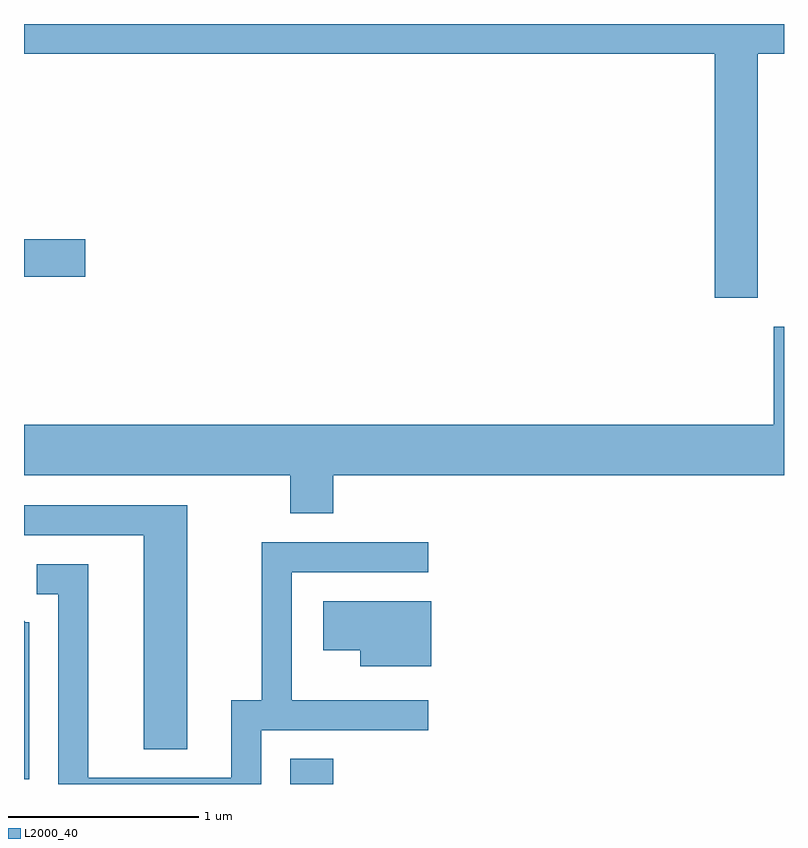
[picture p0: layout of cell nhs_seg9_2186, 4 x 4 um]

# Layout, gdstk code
import gdstk
lib = gdstk.Library(unit=1e-6, precision=1e-09)
def R(c, l, rs):  # rectangles x0, y0, x1, y1
    for r in rs: c.add(gdstk.rectangle(r[:2], r[2:], *l))
def P(c, l, *ps):  # polygons
    for p in ps: c.add(gdstk.Polygon(p, *l))
L2000_40 = (2000, 40)

nhs_seg9_2186 = lib.new_cell('nhs_seg9_2186')
R(nhs_seg9_2186, L2000_40, [(251.011,1972.432,251.239,1972.564), (249.611,1975.101,249.934,1975.299)])
P(nhs_seg9_2186, L2000_40, [(253.474,1976.276),(253.611,1976.276),(253.611,1976.432),(249.611,1976.432),(249.611,1976.276),(253.246,1976.276),(253.246,1974.991),(253.474,1974.991)],
  [(251.239,1974.056),(253.611,1974.056),(253.611,1974.839),(253.556,1974.839),(253.556,1974.324),(249.611,1974.324),(249.611,1974.056),(251.011,1974.056),(251.011,1973.856),(251.239,1973.856)],
  [(250.469,1973.899),(249.611,1973.899),(249.611,1973.741),(250.241,1973.741),(250.241,1972.616),(250.469,1972.616)],
  [(250.859,1972.716),(251.738,1972.716),(251.738,1972.874),(251.019,1972.874),(251.019,1973.546),(251.738,1973.546),(251.738,1973.704),(250.861,1973.704),(250.861,1972.874),(250.701,1972.874),(250.701,1972.464),(249.949,1972.464),(249.949,1973.589),(249.678,1973.589),(249.678,1973.431),(249.791,1973.431),(249.791,1972.432),(250.859,1972.432)],
  [(251.754,1973.394),(251.186,1973.394),(251.186,1973.136),(251.381,1973.136),(251.381,1973.051),(251.754,1973.051)],
  [(249.639,1973.284),(249.617,1973.284),(249.611,1973.29),(249.611,1972.456),(249.639,1972.456)])

lib.write_gds('nhs_seg9_2186.gds')
